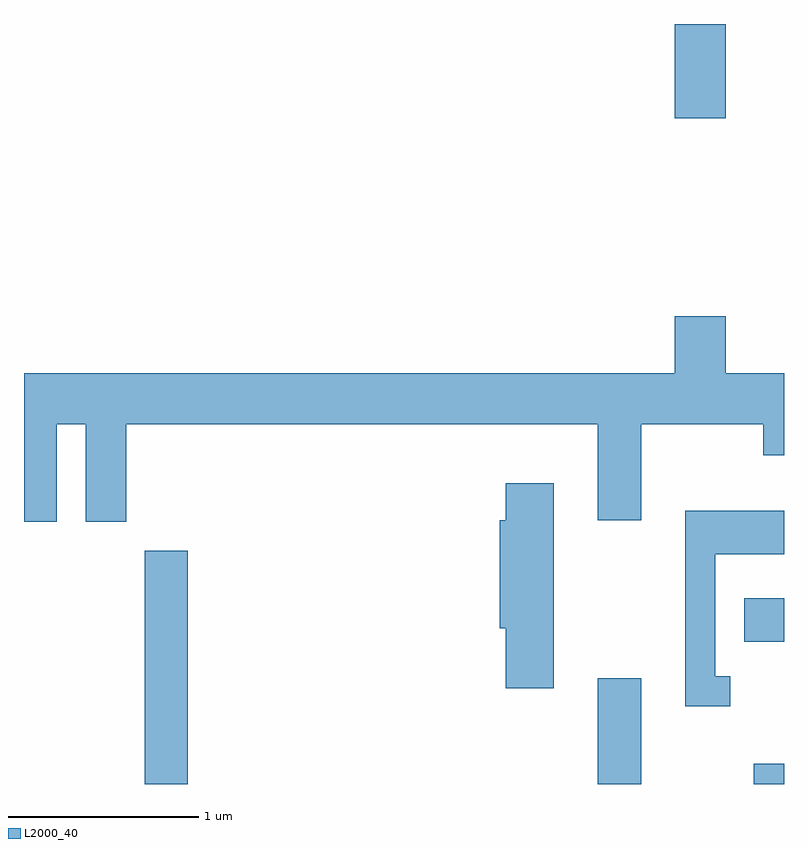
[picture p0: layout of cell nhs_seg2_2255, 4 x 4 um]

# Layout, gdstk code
import gdstk
lib = gdstk.Library(unit=1e-6, precision=1e-09)
def R(c, l, rs):  # rectangles x0, y0, x1, y1
    for r in rs: c.add(gdstk.rectangle(r[:2], r[2:], *l))
def P(c, l, *ps):  # polygons
    for p in ps: c.add(gdstk.Polygon(p, *l))
L2000_40 = (2000, 40)

nhs_seg2_2255 = lib.new_cell('nhs_seg2_2255')
R(nhs_seg2_2255, L2000_40, [(252.246,999.802,252.474,1001.029), (254.631,999.802,254.859,1000.359), (255.451,999.802,255.611,999.909), (255.401,1000.551,255.611,1000.779), (255.036,1003.306,255.304,1003.802)])
P(nhs_seg2_2255, L2000_40, [(251.784,1001.696),(251.936,1001.696),(251.936,1001.181),(252.149,1001.181),(252.149,1001.696),(254.631,1001.696),(254.631,1001.191),(254.859,1001.191),(254.859,1001.696),(255.501,1001.696),(255.501,1001.531),(255.611,1001.531),(255.611,1001.964),(255.304,1001.964),(255.304,1002.264),(255.036,1002.264),(255.036,1001.964),(251.611,1001.964),(251.611,1001.181),(251.784,1001.181)],
  [(254.399,1001.384),(254.146,1001.384),(254.146,1001.189),(254.116,1001.189),(254.116,1000.621),(254.146,1000.621),(254.146,1000.306),(254.399,1000.306)],
  [(255.328,1000.369),(255.249,1000.369),(255.249,1001.011),(255.611,1001.011),(255.611,1001.239),(255.091,1001.239),(255.091,1000.211),(255.328,1000.211)])

lib.write_gds('nhs_seg2_2255.gds')
